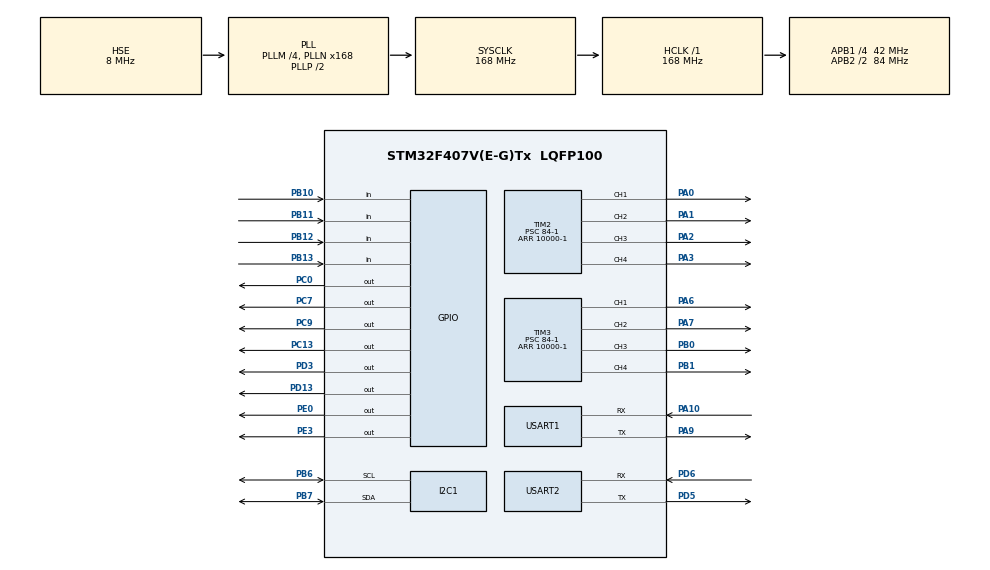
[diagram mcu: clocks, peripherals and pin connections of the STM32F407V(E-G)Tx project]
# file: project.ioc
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Mcu.Family=STM32F4
Mcu.Name=STM32F407V(E-G)Tx
Mcu.Package=LQFP100
NVIC.PriorityGroup=NVIC_PRIORITYGROUP_4
NVIC.TIM1_UP_TIM10_IRQn=true\:0\:0\:false\:false\:true\:true\:true\:true
NVIC.USART2_IRQn=true\:0\:0\:false\:false\:true\:true\:true\:true
PA0-WKUP.Signal=S_TIM2_CH1_ETR
PA1.Signal=S_TIM2_CH2
PA10.Mode=Asynchronous
PA10.Signal=USART1_RX
PA13.Mode=Serial_Wire
PA13.Signal=SYS_JTMS-SWDIO
PA14.Mode=Serial_Wire
PA14.Signal=SYS_JTCK-SWCLK
PA2.Signal=S_TIM2_CH3
PA3.Signal=S_TIM2_CH4
PA6.Signal=S_TIM3_CH1
PA7.Signal=S_TIM3_CH2
PA9.Mode=Asynchronous
PA9.Signal=USART1_TX
PB0.Signal=S_TIM3_CH3
PB1.Signal=S_TIM3_CH4
PB10.GPIO_PuPd=GPIO_PULLUP
PB10.Signal=GPIO_Input
PB11.GPIO_PuPd=GPIO_PULLUP
PB11.Signal=GPIO_Input
PB12.GPIO_PuPd=GPIO_PULLUP
PB12.Signal=GPIO_Input
PB13.GPIO_PuPd=GPIO_PULLUP
PB13.Signal=GPIO_Input
PB6.Mode=I2C
PB6.Signal=I2C1_SCL
PB7.Mode=I2C
PB7.Signal=I2C1_SDA
PC0.GPIO_PuPd=GPIO_NOPULL
PC0.Signal=GPIO_Output
PC13-ANTI_TAMP.PinState=GPIO_PIN_SET
PC13-ANTI_TAMP.Signal=GPIO_Output
PC14-OSC32_IN.Mode=LSE-External-Oscillator
PC14-OSC32_IN.Signal=RCC_OSC32_IN
PC15-OSC32_OUT.Mode=LSE-External-Oscillator
PC15-OSC32_OUT.Signal=RCC_OSC32_OUT
PC7.GPIO_ModeDefaultOutputPP=GPIO_MODE_OUTPUT_PP
PC7.GPIO_PuPd=GPIO_NOPULL
PC7.PinState=GPIO_PIN_SET
PC7.Signal=GPIO_Output
PC9.PinState=GPIO_PIN_SET
PC9.Signal=GPIO_Output
PD13.GPIO_ModeDefaultOutputPP=GPIO_MODE_OUTPUT_PP
PD13.GPIO_PuPd=GPIO_NOPULL
PD13.GPIO_Speed=GPIO_SPEED_FREQ_MEDIUM
PD13.Signal=GPIO_Output
PD3.PinState=GPIO_PIN_SET
PD3.Signal=GPIO_Output
PD5.Mode=Asynchronous
PD5.Signal=USART2_TX
PD6.Mode=Asynchronous
PD6.Signal=USART2_RX
PE0.PinState=GPIO_PIN_SET
PE0.Signal=GPIO_Output
PE3.PinState=GPIO_PIN_SET
PE3.Signal=GPIO_Output
PH0-OSC_IN.Mode=HSE-External-Oscillator
PH0-OSC_IN.Signal=RCC_OSC_IN
PH1-OSC_OUT.Mode=HSE-External-Oscillator
PH1-OSC_OUT.Signal=RCC_OSC_OUT
ProjectManager.HeapSize=0x200
ProjectManager.StackSize=0x400
ProjectManager.TargetToolchain=MDK-ARM V5
RCC.48MHZClocksFreq_Value=42000000
RCC.AHBFreq_Value=168000000
RCC.APB1CLKDivider=RCC_HCLK_DIV4
RCC.APB1Freq_Value=42000000
RCC.APB1TimFreq_Value=84000000
RCC.APB2CLKDivider=RCC_HCLK_DIV2
RCC.APB2Freq_Value=84000000
RCC.APB2TimFreq_Value=168000000
RCC.CortexFreq_Value=168000000
RCC.HCLKFreq_Value=168000000
RCC.HSE_VALUE=8000000
RCC.HSI_VALUE=16000000
RCC.PLLM=4
RCC.PLLN=168
RCC.PLLQ=8
RCC.PLLSourceVirtual=RCC_PLLSOURCE_HSE
RCC.SYSCLKFreq_VALUE=168000000
RCC.SYSCLKSource=RCC_SYSCLKSOURCE_PLLCLK
RCC.VCOOutputFreq_Value=336000000
SH.S_TIM2_CH1_ETR.0=TIM2_CH1,PWM Generation1 CH1
SH.S_TIM2_CH2.0=TIM2_CH2,PWM Generation2 CH2
SH.S_TIM2_CH3.0=TIM2_CH3,PWM Generation3 CH3
SH.S_TIM2_CH4.0=TIM2_CH4,PWM Generation4 CH4
SH.S_TIM3_CH1.0=TIM3_CH1,PWM Generation1 CH1
SH.S_TIM3_CH2.0=TIM3_CH2,PWM Generation2 CH2
SH.S_TIM3_CH3.0=TIM3_CH3,PWM Generation3 CH3
SH.S_TIM3_CH4.0=TIM3_CH4,PWM Generation4 CH4
TIM1.Period=1000
TIM1.Prescaler=160
TIM2.Channel-PWM\ Generation1\ CH1=TIM_CHANNEL_1
TIM2.Channel-PWM\ Generation2\ CH2=TIM_CHANNEL_2
TIM2.Channel-PWM\ Generation3\ CH3=TIM_CHANNEL_3
TIM2.Channel-PWM\ Generation4\ CH4=TIM_CHANNEL_4
TIM2.Period=10000-1
TIM2.Prescaler=84-1
TIM3.Channel-PWM\ Generation1\ CH1=TIM_CHANNEL_1
TIM3.Channel-PWM\ Generation2\ CH2=TIM_CHANNEL_2
TIM3.Channel-PWM\ Generation3\ CH3=TIM_CHANNEL_3
TIM3.Channel-PWM\ Generation4\ CH4=TIM_CHANNEL_4
TIM3.Period=10000-1
TIM3.Prescaler=84-1
USART1.VirtualMode=VM_ASYNC
USART2.VirtualMode=VM_ASYNC
VP_TIM1_VS_ClockSourceINT.Mode=Internal
VP_TIM2_VS_ClockSourceINT.Mode=Internal
VP_TIM3_VS_ClockSourceINT.Mode=Internal
board=custom

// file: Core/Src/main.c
/* USER CODE BEGIN Header */
/**
  ******************************************************************************
  * @file           : main.c
  * @brief          : Main program body
  ******************************************************************************
  * @attention
  *
  * Copyright (c) 2025 STMicroelectronics.
  * All rights reserved.
  *
  * This software is licensed under terms that can be found in the LICENSE file
  * in the root directory of this software component.
  * If no LICENSE file comes with this software, it is provided AS-IS.
  *
  ******************************************************************************
  */
/* USER CODE END Header */
#include "main.h"
#include "i2c.h"
#include "tim.h"
#include "usart.h"
#include "gpio.h"

/* USER CODE BEGIN Includes */
#include "oled.h"
#include "key.h"
#include "servo.h"
#include "arm_math.h"
#include "chess.h"
/* USER CODE END Includes */

void SystemClock_Config(void);

/* USER CODE BEGIN 0 */

#define FRAME_W   800
#define FRAME_H   480
//#define FRAME_CX  400
//#define FRAME_CY  240

// ���ջ��塢��־
uint8_t  rx_buf[6];
volatile uint8_t rx_flag = 0;

int16_t count_1ms, count_10ms,count_1s,count_25ms,count_200ms;

uint8_t test_start_flag=1;
uint8_t test_num=1;
uint8_t key_num=0,receive_flag=0,test1_flag=1,PID_START_FALG=0,SERVO_START_FALG = 0,test2_flag=1,test2_start_flag;
uint8_t test_show;

extern uint8_t r_data,c_data,chess_set_error,row_error_chess,col_error_chess,row_error_null,col_error_null;

uint8_t test4_AIMOVE,TIME_DATA,test4_move,test4_init,test4_chess=1,test4_win_flag;

uint8_t test5_AIMOVE,test5_move,test5_init,test5_chess=6,test5_win_flag,test5_errorfind,test5_start;

uint8_t LED_FLAG;

uint8_t RX_data[10],data[10];

uint8_t time_flag;

char board[3][3];

//uint32_t DATA_coordinate[70],GOAL_data[2],chessbroad_data[36];

uint8_t tast2_buff[4];

/************��ͷСͷת������****************/
uint32_t swap_uint32(uint32_t value)
{
	    return ((value << 24) & 0xFF000000) |
           ((value << 8)  & 0x00FF0000) |
           ((value >> 8)  & 0x0000FF00) |
           ((value >> 24) & 0x000000FF);
}

/************���ڻص�����****************/
void HAL_UART_RxCpltCallback(UART_HandleTypeDef *huart)
{
    if (huart->Instance == USART2)
    {
        if (rx_buf[0] == 0xE8)
        {
            rx_flag = 1;
        }
        // ����������һ�ν���
        HAL_UART_Receive_IT(&huart2, rx_buf, 6);
    }
}
/************��ʱ���ص�����****************/
void 	HAL_TIM_PeriodElapsedCallback(TIM_HandleTypeDef *htim)
  {

			/* ��ʱ��1��ʱ����*/
			if(htim ->Instance == TIM1 )
			{

					count_1ms++;
					count_10ms++;
				  count_1s++;
				  count_25ms++;
					count_200ms++;
//					HAL_GPIO_WritePin(GPIOA,GPIO_PIN_0,GPIO_PIN_SET);
					if(count_1ms == 1)
					{

						count_1ms=0;
					}
					if(count_10ms == 10)
					{
						count_10ms=0;
					}
					if(count_25ms == 25)
					{
						key_num = key_loop();
						if(test4_AIMOVE == 1)
						{
							if(key_num ==8)
							{
								HAL_GPIO_WritePin(GPIOC,GPIO_PIN_9,GPIO_PIN_SET);
								LED_FLAG =0;
								test4_move = 1;
								test4_AIMOVE =0;

							}
						}
						if(test5_AIMOVE == 1)
						{
							if(key_num ==8)
							{
								HAL_GPIO_WritePin(GPIOC,GPIO_PIN_9,GPIO_PIN_SET);
								LED_FLAG =0;
								test5_move = 1;
								test5_AIMOVE =0;

							}
						}
						if(key_num ==12)
						{
							test5_start =1;
						}

						count_25ms=0;
					}

					if(count_200ms==20)
					{
//							OLED_Clear();
						HAL_UART_Receive_IT(&huart2, rx_buf, 6);

						count_200ms=0;
					}

					if(count_1s==1000)
					{

						/*����ָʾ��*/
						HAL_GPIO_TogglePin(GPIOC,GPIO_PIN_0);
						time_flag++;
						count_1s=0;
//						HAL_UART_Transmit(&huart1,TX_data,sizeof(TX_data),1000);
//		        HAL_UART_Transmit(&huart2,TX_data,sizeof(TX_data),1000);
					}
			}

  }

/* USER CODE END 0 */

int main(void)
{

  /* MCU Configuration--------------------------------------------------------*/

  /* Reset of all peripherals, Initializes the Flash interface and the Systick. */
  HAL_Init();

  /* Configure the system clock */
  SystemClock_Config();

  /* Initialize all configured peripherals */
  MX_GPIO_Init();
  MX_TIM1_Init();
  MX_TIM2_Init();
  MX_TIM3_Init();
  MX_USART2_UART_Init();
  MX_I2C1_Init();
  MX_USART1_UART_Init();
  /* USER CODE BEGIN 2 */
	HAL_TIM_Base_Start_IT(&htim1);
	OLED_Init();
	OLED_Clear();
	pwm_start();
	servo_reset();
	HAL_UART_Receive_IT(&huart2, rx_buf, 6);
  /* USER CODE END 2 */

  /* Infinite loop */
  /* USER CODE BEGIN WHILE */

  while (1)
    {
        if (rx_flag)
        {
            // 解析高低字节：大端模式
            uint16_t px =  (uint16_t)rx_buf[1]
             | ((uint16_t)rx_buf[2] << 8);

						uint16_t py =  (uint16_t)rx_buf[3]
             | ((uint16_t)rx_buf[4] << 8);

            //servo_pid_h(px, FRAME_CX);
						//servo_pid_w(py, FRAME_CY);
						servo_pid(px, FRAME_CX, py, FRAME_CY);

            rx_flag = 0;
        }
    }
  /* USER CODE END 3 */
}

void SystemClock_Config(void)
{
  RCC_OscInitTypeDef RCC_OscInitStruct = {0};
  RCC_ClkInitTypeDef RCC_ClkInitStruct = {0};

  /** Configure the main internal regulator output voltage
  */
  __HAL_RCC_PWR_CLK_ENABLE();
  __HAL_PWR_VOLTAGESCALING_CONFIG(PWR_REGULATOR_VOLTAGE_SCALE1);

  /** Initializes the RCC Oscillators according to the specified parameters
  * in the RCC_OscInitTypeDef structure.
  */
  RCC_OscInitStruct.OscillatorType = RCC_OSCILLATORTYPE_HSE;
  RCC_OscInitStruct.HSEState = RCC_HSE_ON;
  RCC_OscInitStruct.PLL.PLLState = RCC_PLL_ON;
  RCC_OscInitStruct.PLL.PLLSource = RCC_PLLSOURCE_HSE;
  RCC_OscInitStruct.PLL.PLLM = 4;
  RCC_OscInitStruct.PLL.PLLN = 168;
  RCC_OscInitStruct.PLL.PLLP = RCC_PLLP_DIV2;
  RCC_OscInitStruct.PLL.PLLQ = 8;
  if (HAL_RCC_OscConfig(&RCC_OscInitStruct) != HAL_OK)
  {
    Error_Handler();
  }

  /** Initializes the CPU, AHB and APB buses clocks
  */
  RCC_ClkInitStruct.ClockType = RCC_CLOCKTYPE_HCLK|RCC_CLOCKTYPE_SYSCLK
                              |RCC_CLOCKTYPE_PCLK1|RCC_CLOCKTYPE_PCLK2;
  RCC_ClkInitStruct.SYSCLKSource = RCC_SYSCLKSOURCE_PLLCLK;
  RCC_ClkInitStruct.AHBCLKDivider = RCC_SYSCLK_DIV1;
  RCC_ClkInitStruct.APB1CLKDivider = RCC_HCLK_DIV4;
  RCC_ClkInitStruct.APB2CLKDivider = RCC_HCLK_DIV2;

  if (HAL_RCC_ClockConfig(&RCC_ClkInitStruct, FLASH_LATENCY_5) != HAL_OK)
  {
    Error_Handler();
  }
}

void Error_Handler(void)
{
  __disable_irq();
  while (1)
  {
  }
}
